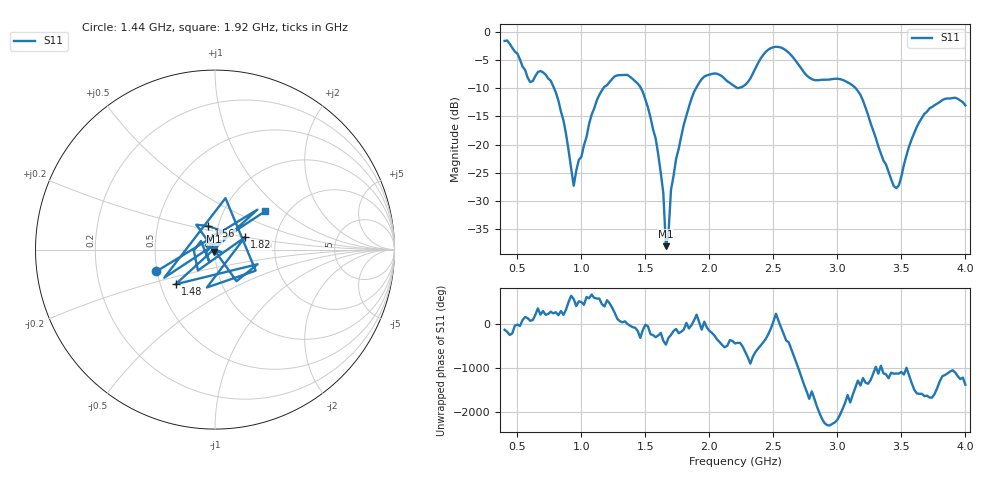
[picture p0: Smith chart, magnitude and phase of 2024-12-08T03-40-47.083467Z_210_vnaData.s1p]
!Created with skrf (http://scikit-rf.org).
# Hz S RI R 50.0
!freq ReS11 ImS11
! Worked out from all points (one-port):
!   181 points, 400 MHz to 4 GHz, reference 50 ohm
!   lowest |S11| = -38.0 dB at 1.66 GHz (marker M1), VSWR 1.03, Z = 49.6 - j1.18 ohm
!   |S11| at or under -10 dB: 786.3 MHz to 1.172 GHz (385.9 MHz wide, 39.4 % of centre); 1.465 GHz to 1.896 GHz (430.8 MHz wide, 25.6 % of centre); 3.142 GHz to end of sweep (the widest 3 of 4)
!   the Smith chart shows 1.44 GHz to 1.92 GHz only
!   S11 on the Smith chart (normalised r, x): 1.44 GHz: 0.50, -0.14; 1.48 GHz: 0.60, -0.25; 1.56 GHz: 0.90, +0.24; 1.82 GHz: 1.38, +0.19; 1.92 GHz: 1.55, +0.76
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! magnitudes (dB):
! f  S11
! 400 MHz  -1.6
! 600 MHz  -8.9
! 760 MHz  -8.7
! 860 MHz  -15.7
! 940 MHz  -27.3
! 1.12 GHz  -12.2
! 1.3 GHz  -7.7
! 1.44 GHz  -9.2
! 1.48 GHz  -10.7
! 1.56 GHz  -17.3
! 1.64 GHz  -28.6
! 1.66 GHz  -38.0
! 1.68 GHz  -35.9
! 1.7 GHz  -28.0
! 1.76 GHz  -20.8
! 1.82 GHz  -14.9
! 1.92 GHz  -9.1
! 2.2 GHz  -9.7
! 2.48 GHz  -2.9
! 2.66 GHz  -4.7
! 2.8 GHz  -8.4
! 3.1 GHz  -9.2
! 3.2 GHz  -12.2
! 3.44 GHz  -27.3
! 3.48 GHz  -27.2
! 3.56 GHz  -20.3
! 3.72 GHz  -13.6
! 4 GHz  -13.1
